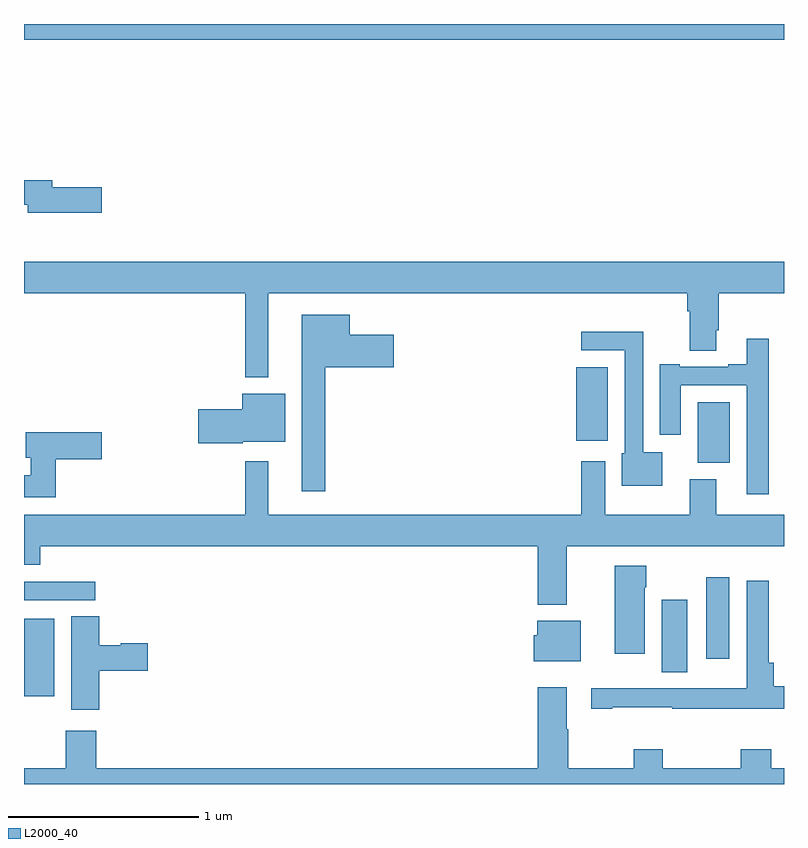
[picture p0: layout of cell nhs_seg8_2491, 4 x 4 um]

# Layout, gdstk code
import gdstk
lib = gdstk.Library(unit=1e-6, precision=1e-09)
def R(c, l, rs):  # rectangles x0, y0, x1, y1
    for r in rs: c.add(gdstk.rectangle(r[:2], r[2:], *l))
def P(c, l, *ps):  # polygons
    for p in ps: c.add(gdstk.Polygon(p, *l))
L2000_40 = (2000, 40)

nhs_seg8_2491 = lib.new_cell('nhs_seg8_2491')
R(nhs_seg8_2491, L2000_40, [(267,1130.363,267.16,1130.77), (270.356,1130.488,270.49,1130.869), (270.59,1130.559,270.712,1130.989), (267,1130.868,267.376,1130.964), (270.545,1131.59,270.715,1131.91), (269.906,1131.707,270.073,1132.093), (267,1133.816,271,1133.9)])
P(nhs_seg8_2491, L2000_40, [(267.409,1133.042),(267.148,1133.042),(267.148,1133.078),(267,1133.078),(267,1132.95),(267.02,1132.95),(267.02,1132.907),(267.409,1132.907)],
  [(268.285,1132.484),(270.491,1132.484),(270.491,1132.388),(270.503,1132.388),(270.503,1132.18),(270.643,1132.18),(270.643,1132.288),(270.656,1132.288),(270.656,1132.484),(271,1132.484),(271,1132.648),(267,1132.648),(267,1132.484),(268.164,1132.484),(268.164,1132.04),(268.285,1132.04)],
  [(268.585,1132.094),(268.945,1132.094),(268.945,1132.264),(268.714,1132.264),(268.714,1132.369),(268.463,1132.369),(268.463,1131.441),(268.585,1131.441)],
  [(270.358,1131.646),(270.258,1131.646),(270.258,1132.28),(269.934,1132.28),(269.934,1132.182),(270.162,1132.182),(270.162,1131.642),(270.146,1131.642),(270.146,1131.47),(270.358,1131.47)],
  [(270.92,1132.243),(270.803,1132.243),(270.803,1132.108),(270.707,1132.108),(270.707,1132.095),(270.451,1132.095),(270.451,1132.108),(270.347,1132.108),(270.347,1131.738),(270.457,1131.738),(270.457,1131.999),(270.804,1131.999),(270.804,1131.426),(270.92,1131.426)],
  [(268.152,1131.701),(268.375,1131.701),(268.375,1131.955),(268.148,1131.955),(268.148,1131.872),(267.918,1131.872),(267.918,1131.694),(268.152,1131.694)],
  [(267.167,1131.61),(267.409,1131.61),(267.409,1131.752),(267.008,1131.752),(267.008,1131.617),(267.035,1131.617),(267.035,1131.524),(267,1131.524),(267,1131.408),(267.167,1131.408)],
  [(269.857,1131.152),(271,1131.152),(271,1131.316),(270.643,1131.316),(270.643,1131.505),(270.503,1131.505),(270.503,1131.316),(270.058,1131.316),(270.058,1131.598),(269.933,1131.598),(269.933,1131.316),(268.285,1131.316),(268.285,1131.598),(268.164,1131.598),(268.164,1131.316),(267,1131.316),(267,1131.053),(267.086,1131.053),(267.086,1131.152),(269.705,1131.152),(269.705,1130.843),(269.857,1130.843)],
  [(270.268,1130.936),(270.276,1130.936),(270.276,1131.049),(270.11,1131.049),(270.11,1130.586),(270.268,1130.586)],
  [(270.097,1130.305),(270.413,1130.305),(270.413,1130.295),(270.828,1130.295),(270.828,1130.297),(271,1130.297),(271,1130.414),(270.947,1130.414),(270.947,1130.539),(270.92,1130.539),(270.92,1130.971),(270.804,1130.971),(270.804,1130.404),(270.594,1130.404),(270.594,1130.403),(270.26,1130.403),(270.26,1130.405),(269.985,1130.405),(269.985,1130.295),(270.097,1130.295)],
  [(267.395,1130.495),(267.652,1130.495),(267.652,1130.642),(267.509,1130.642),(267.509,1130.629),(267.395,1130.629),(267.395,1130.783),(267.248,1130.783),(267.248,1130.292),(267.395,1130.292)],
  [(269.929,1130.758),(269.702,1130.758),(269.702,1130.682),(269.684,1130.682),(269.684,1130.546),(269.929,1130.546)],
  [(271,1129.984),(270.932,1129.984),(270.932,1130.083),(270.772,1130.083),(270.772,1129.984),(270.363,1129.984),(270.363,1130.083),(270.208,1130.083),(270.208,1129.984),(269.865,1129.984),(269.865,1130.189),(269.857,1130.189),(269.857,1130.41),(269.705,1130.41),(269.705,1129.984),(267.38,1129.984),(267.38,1130.179),(267.22,1130.179),(267.22,1129.984),(267,1129.984),(267,1129.9),(271,1129.9)])

lib.write_gds('nhs_seg8_2491.gds')
